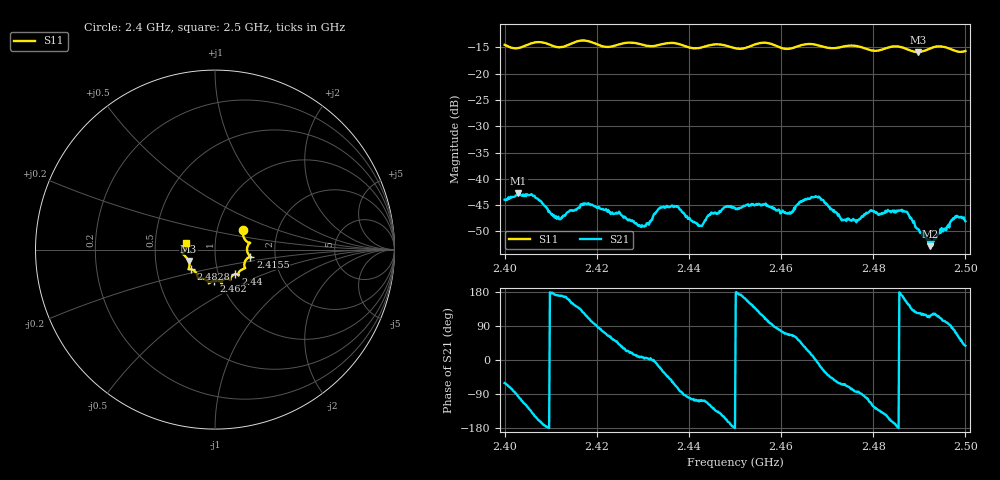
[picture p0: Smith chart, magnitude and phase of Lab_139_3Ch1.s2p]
# Hz S RI R 50
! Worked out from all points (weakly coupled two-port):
!   601 points, 2.4 GHz to 2.5 GHz, reference 50 ohm
!   highest |S21| = -42.78 dB at 2.403 GHz (marker M1); lowest = -52.8 dB at 2.4923 GHz (marker M2)
!   lowest |S11| = -15.9 dB at 2.4897 GHz (marker M3), VSWR 1.38, Z = 36.9 - j4.82 ohm
!   |S11| at or under -10 dB: start of sweep to end of sweep
!   S12 and S22 are empty: the file has one direction only
!   S11 on the Smith chart (normalised r, x): 2.4 GHz: 1.33, +0.29; 2.4155 GHz: 1.49, -0.12; 2.44 GHz: 1.20, -0.34; 2.462 GHz: 0.93, -0.33; 2.4828 GHz: 0.74, -0.17; 2.5 GHz: 0.72, +0.06
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2.4e9  0.1551 0.1067  0.00309 -0.00553  0 0  0 0
2.403e9  0.1647 0.0594  -0.000872 -0.00721  0 0  0 0
2.406167e9  0.1928 0.0377  -0.00541 -0.00425  0 0  0 0
2.411833e9  0.1782 0.00255  -0.00407 0.00074  0 0  0 0
2.4155e9  0.1975 -0.0393  -0.00395 0.00314  0 0  0 0
2.416667e9  0.2023 -0.0425  -0.00378 0.00429  0 0  0 0
2.429833e9  0.1545 -0.1092  0.0036 0.000421  0 0  0 0
2.433333e9  0.1307 -0.1337  0.00496 -0.00133  0 0  0 0
2.437333e9  0.1313 -0.1426  0.00182 -0.00519  0 0  0 0
2.44e9  0.1138 -0.1365  -0.000713 -0.00421  0 0  0 0
2.4425e9  0.0918 -0.1507  -0.000986 -0.00343  0 0  0 0
2.45e9  0.0649 -0.1623  -0.00527 -4.71e-05  0 0  0 0
2.462e9  -0.00505 -0.1733  0.00186 0.00428  0 0  0 0
2.466667e9  -0.0345 -0.1881  0.00656 0.0015  0 0  0 0
2.473667e9  -0.0856 -0.1603  0.00179 -0.00364  0 0  0 0
2.482833e9  -0.1363 -0.1094  -0.00399 -0.0027  0 0  0 0
2.483333e9  -0.1402 -0.1093  -0.00443 -0.00224  0 0  0 0
2.487e9  -0.1436 -0.0973  -0.00448 0.00194  0 0  0 0
2.489667e9  -0.1471 -0.0636  -0.00184 0.00275  0 0  0 0
2.492333e9  -0.1708 -0.0317  -0.00103 0.00204  0 0  0 0
2.497833e9  -0.1645 0.00275  0.00135 0.00419  0 0  0 0
2.5e9  -0.1595 0.0389  0.00313 0.00241  0 0  0 0
